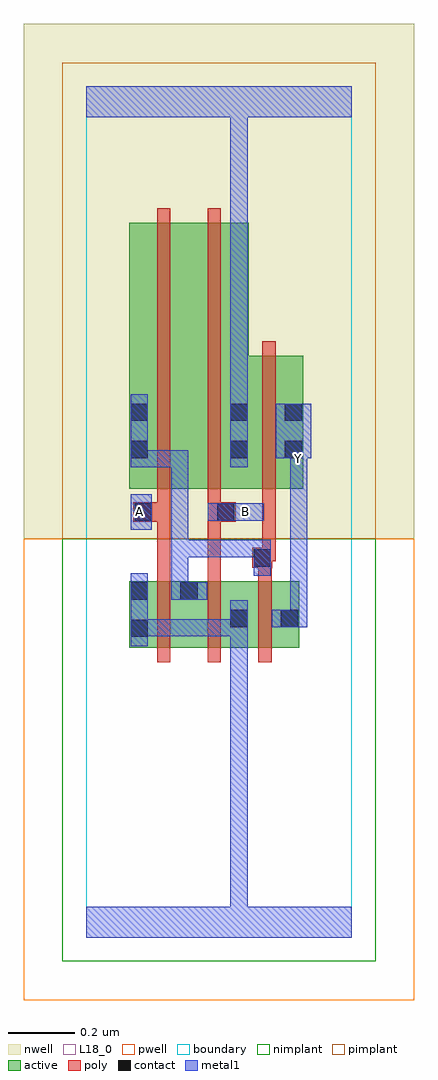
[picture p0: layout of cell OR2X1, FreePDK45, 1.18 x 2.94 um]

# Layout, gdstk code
import gdstk
lib = gdstk.Library(unit=1e-6, precision=1e-09)
def R(c, l, rs):  # rectangles x0, y0, x1, y1
    for r in rs: c.add(gdstk.rectangle(r[:2], r[2:], *l))
def A(c, l, x, y, w, h, nx, ny, dx, dy):  # array of equal rectangles
    R(c, l, [(x+i*dx, y+j*dy, x+i*dx+w, y+j*dy+h) for i in range(nx) for j in range(ny)])
active = (1, 0)
pwell = (2, 0)
nwell = (3, 0)
nimplant = (4, 0)
pimplant = (5, 0)
poly = (9, 0)
contact = (10, 0)
metal1 = (11, 0)
L18_0 = (18, 0)
boundary = (235, 0)

or2x1 = lib.new_cell('OR2X1')
R(or2x1, active, [(0.13,0.872,0.19,1.072), (0.13,0.872,0.34,1.072), (0.28,0.872,0.49,1.072), (0.43,0.872,0.49,1.072), (0.43,0.872,0.642,1.072), (0.582,0.872,0.642,1.072), (0.28,0.956,0.34,1.072), (0.13,1.35,0.31,2.15), (0.13,1.35,0.19,2.044), (0.31,1.35,0.49,2.15), (0.43,1.35,0.49,1.644), (0.43,1.35,0.654,1.75), (0.594,1.35,0.654,1.644)])
R(or2x1, pwell, [(-0.188,-0.188,0.988,1.2)])
R(or2x1, nwell, [(-0.188,1.2,0.988,2.748)])
R(or2x1, nimplant, [(-0.072,-0.072,0.872,1.2)])
R(or2x1, pimplant, [(-0.072,1.2,0.872,2.632)])
A(or2x1, poly, 0.214, 0.828, 0.04, 0.288, 3, 1, 0.152, 0)
R(or2x1, poly, [(0.214,1.076,0.254,1.29), (0.366,1.076,0.406,1.29), (0.518,1.076,0.558,1.152), (0.5,1.112,0.56,1.172), (0.52,1.132,0.56,1.172), (0.52,1.132,0.57,1.172), (0.53,1.132,0.57,1.346), (0.142,1.25,0.254,1.31), (0.366,1.25,0.406,1.29), (0.366,1.25,0.406,1.29), (0.366,1.25,0.45,1.31), (0.214,1.27,0.254,1.31), (0.214,1.27,0.254,1.31), (0.214,1.27,0.254,1.346), (0.366,1.27,0.406,1.346), (0.214,1.306,0.254,2.194), (0.366,1.306,0.406,2.194), (0.53,1.306,0.57,1.794)])
R(or2x1, contact, [(0.134,0.904,0.186,0.956), (0.434,0.934,0.486,0.986), (0.586,0.934,0.638,0.986), (0.134,1.016,0.186,1.068), (0.284,1.016,0.336,1.068), (0.504,1.116,0.556,1.168), (0.146,1.254,0.198,1.306), (0.394,1.254,0.446,1.306), (0.134,1.442,0.186,1.494), (0.434,1.442,0.486,1.494), (0.598,1.442,0.65,1.494), (0.134,1.554,0.186,1.606), (0.434,1.554,0.486,1.606), (0.598,1.554,0.65,1.606)])
R(or2x1, metal1, [(0,0,0.8,0.092), (0.434,0.04,0.486,0.092), (0.434,0.04,0.486,0.092), (0.434,0.04,0.486,0.092), (0.434,0.04,0.486,0.092), (0.434,0.04,0.486,0.092), (0.434,0.04,0.486,0.092), (0.434,0.04,0.486,0.092), (0.434,0.04,0.486,0.092), (0.434,0.04,0.486,0.092), (0.434,0.04,0.486,0.092), (0.434,0.04,0.486,0.092), (0.434,0.04,0.486,0.092), (0.434,0.04,0.486,0.092), (0.434,0.04,0.486,0.092), (0.434,0.04,0.486,0.958), (0.134,0.876,0.186,1.096), (0.134,0.906,0.186,0.958), (0.134,0.906,0.186,0.958), (0.134,0.906,0.308,0.958), (0.256,0.906,0.308,0.958), (0.256,0.906,0.308,0.958), (0.256,0.906,0.308,0.958), (0.256,0.906,0.486,0.958), (0.434,0.906,0.486,0.958), (0.434,0.906,0.486,0.958), (0.434,0.906,0.486,1.014), (0.558,0.934,0.666,0.986), (0.614,0.934,0.666,1.438), (0.256,1.016,0.364,1.068), (0.256,1.016,0.308,1.196), (0.504,1.088,0.556,1.196), (0.256,1.144,0.308,1.196), (0.256,1.144,0.308,1.196), (0.256,1.144,0.308,1.196), (0.256,1.144,0.5,1.196), (0.256,1.144,0.308,1.466), (0.448,1.144,0.5,1.196), (0.448,1.144,0.556,1.196), (0.134,1.226,0.198,1.334), (0.366,1.254,0.534,1.306), (0.614,1.386,0.666,1.494), (0.134,1.414,0.186,1.466), (0.134,1.414,0.186,1.466), (0.134,1.414,0.186,1.466), (0.134,1.414,0.186,1.466), (0.134,1.414,0.186,1.634), (0.134,1.414,0.308,1.466), (0.256,1.414,0.308,1.466), (0.434,1.414,0.486,1.634), (0.57,1.442,0.678,1.606), (0.614,1.442,0.666,1.494), (0.614,1.442,0.666,1.494), (0.614,1.442,0.666,1.494), (0.434,1.582,0.486,1.634), (0.434,1.582,0.486,1.634), (0.434,1.582,0.486,1.634), (0.434,1.582,0.486,1.634), (0.434,1.582,0.486,1.634), (0.434,1.582,0.486,1.634), (0.434,1.582,0.486,2.52), (0,2.468,0.8,2.56), (0.434,2.468,0.486,2.52), (0.434,2.468,0.486,2.52)])
R(or2x1, L18_0, [(0,0,0.8,0.092), (0.434,0.04,0.486,0.092), (0.434,0.04,0.486,0.092), (0.434,0.04,0.486,0.092), (0.434,0.04,0.486,0.092), (0.434,0.04,0.486,0.092), (0.434,0.04,0.486,0.092), (0.434,0.04,0.486,0.092), (0.434,0.04,0.486,0.092), (0.434,0.04,0.486,0.092), (0.434,0.04,0.486,0.092), (0.434,0.04,0.486,0.092), (0.434,0.04,0.486,0.092), (0.434,0.04,0.486,0.092), (0.434,0.04,0.486,0.092), (0.434,0.04,0.486,0.958), (0.134,0.876,0.186,1.096), (0.134,0.906,0.186,0.958), (0.134,0.906,0.186,0.958), (0.134,0.906,0.308,0.958), (0.256,0.906,0.308,0.958), (0.256,0.906,0.308,0.958), (0.256,0.906,0.308,0.958), (0.256,0.906,0.486,0.958), (0.434,0.906,0.486,0.958), (0.434,0.906,0.486,0.958), (0.434,0.906,0.486,1.014), (0.558,0.934,0.666,0.986), (0.614,0.934,0.666,1.438), (0.134,1.226,0.198,1.334), (0.134,1.254,0.186,1.306), (0.366,1.254,0.534,1.306), (0.454,1.254,0.506,1.306), (0.614,1.386,0.666,1.494), (0.434,1.414,0.486,1.634), (0.614,1.414,0.666,1.466), (0.57,1.442,0.678,1.606), (0.614,1.442,0.666,1.494), (0.614,1.442,0.666,1.494), (0.614,1.442,0.666,1.494), (0.434,1.582,0.486,1.634), (0.434,1.582,0.486,1.634), (0.434,1.582,0.486,1.634), (0.434,1.582,0.486,1.634), (0.434,1.582,0.486,1.634), (0.434,1.582,0.486,1.634), (0.434,1.582,0.486,2.52), (0,2.468,0.8,2.56), (0.434,2.468,0.486,2.52), (0.434,2.468,0.486,2.52)])
R(or2x1, boundary, [(0,0,0.8,2.56)])
or2x1.add(gdstk.Label('A', (0.16,1.28), layer=11, texttype=0))
or2x1.add(gdstk.Label('B', (0.48,1.28), layer=11, texttype=0))
or2x1.add(gdstk.Label('Y', (0.64,1.44), layer=11, texttype=0))

lib.write_gds('OR2X1.gds')
